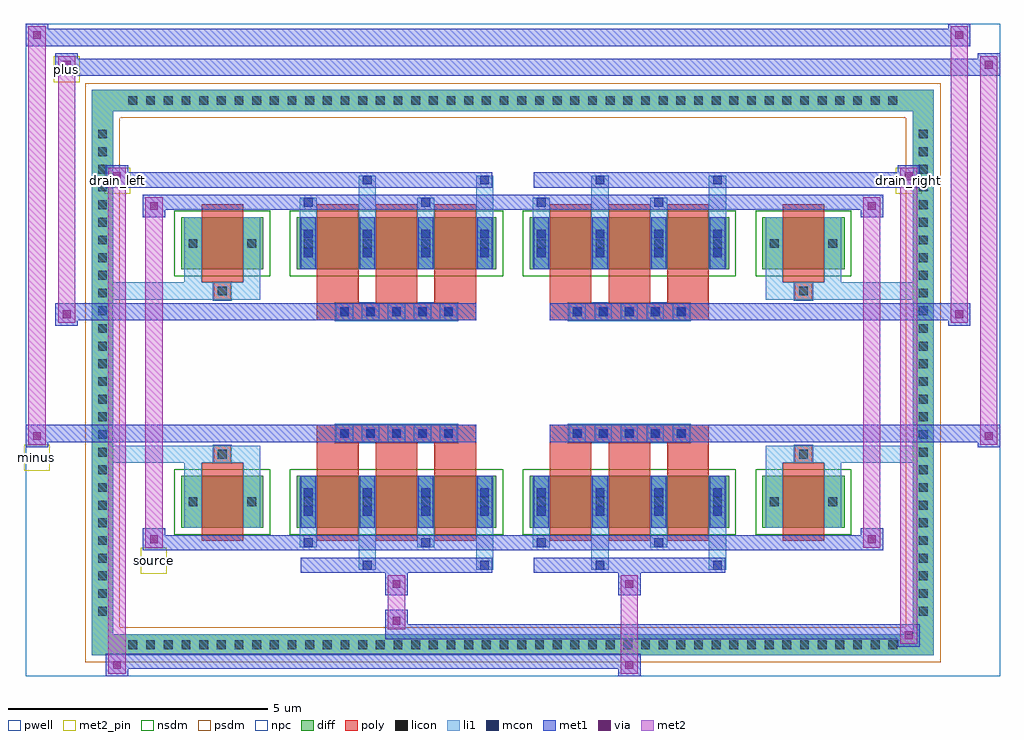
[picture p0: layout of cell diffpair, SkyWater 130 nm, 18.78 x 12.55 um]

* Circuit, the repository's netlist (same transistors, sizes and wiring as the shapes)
* NGSPICE file created from diffpair.ext - technology: sky130A

.subckt diffpair minus drain_right drain_left source plus
X0 a_n1620_n1088# a_n1620_n1088# a_n1620_n1088# a_n1620_n1088# sky130_fd_pr__nfet_01v8 ad=0.39 pd=2.78 as=3.12 ps=22.24 w=1 l=0.8
X1 a_n1620_n1088# a_n1620_n1088# a_n1620_n1088# a_n1620_n1088# sky130_fd_pr__nfet_01v8 ad=0.39 pd=2.78 as=0 ps=0 w=1 l=0.8
X2 a_n1620_n1088# a_n1620_n1088# a_n1620_n1088# a_n1620_n1088# sky130_fd_pr__nfet_01v8 ad=0.39 pd=2.78 as=0 ps=0 w=1 l=0.8
X3 a_n1620_n1088# a_n1620_n1088# a_n1620_n1088# a_n1620_n1088# sky130_fd_pr__nfet_01v8 ad=0.39 pd=2.78 as=0 ps=0 w=1 l=0.8
X4 drain_right minus source a_n1620_n1088# sky130_fd_pr__nfet_01v8 ad=0.165 pd=1.33 as=0.39 ps=2.78 w=1 l=0.8
X5 drain_right minus source a_n1620_n1088# sky130_fd_pr__nfet_01v8 ad=0.39 pd=2.78 as=0.165 ps=1.33 w=1 l=0.8
X6 drain_right minus source a_n1620_n1088# sky130_fd_pr__nfet_01v8 ad=0.39 pd=2.78 as=0.165 ps=1.33 w=1 l=0.8
X7 drain_left plus source a_n1620_n1088# sky130_fd_pr__nfet_01v8 ad=0.165 pd=1.33 as=0.39 ps=2.78 w=1 l=0.8
X8 drain_left plus source a_n1620_n1088# sky130_fd_pr__nfet_01v8 ad=0.39 pd=2.78 as=0.165 ps=1.33 w=1 l=0.8
X9 source minus drain_right a_n1620_n1088# sky130_fd_pr__nfet_01v8 ad=0.165 pd=1.33 as=0.165 ps=1.33 w=1 l=0.8
X10 drain_right minus source a_n1620_n1088# sky130_fd_pr__nfet_01v8 ad=0.165 pd=1.33 as=0.39 ps=2.78 w=1 l=0.8
X11 source minus drain_right a_n1620_n1088# sky130_fd_pr__nfet_01v8 ad=0.165 pd=1.33 as=0.165 ps=1.33 w=1 l=0.8
X12 drain_left plus source a_n1620_n1088# sky130_fd_pr__nfet_01v8 ad=0.165 pd=1.33 as=0.39 ps=2.78 w=1 l=0.8
X13 source plus drain_left a_n1620_n1088# sky130_fd_pr__nfet_01v8 ad=0.165 pd=1.33 as=0.165 ps=1.33 w=1 l=0.8
X14 source plus drain_left a_n1620_n1088# sky130_fd_pr__nfet_01v8 ad=0.165 pd=1.33 as=0.165 ps=1.33 w=1 l=0.8
X15 drain_left plus source a_n1620_n1088# sky130_fd_pr__nfet_01v8 ad=0.39 pd=2.78 as=0.165 ps=1.33 w=1 l=0.8
.ends

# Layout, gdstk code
import gdstk
lib = gdstk.Library(unit=1e-6, precision=5e-09)
def R(c, l, rs):  # rectangles x0, y0, x1, y1
    for r in rs: c.add(gdstk.rectangle(r[:2], r[2:], *l))
def A(c, l, x, y, w, h, nx, ny, dx, dy):  # array of equal rectangles
    R(c, l, [(x+i*dx, y+j*dy, x+i*dx+w, y+j*dy+h) for i in range(nx) for j in range(ny)])
def P(c, l, *ps):  # polygons
    for p in ps: c.add(gdstk.Polygon(p, *l))
pwell = (64, 44)
diff = (65, 20)
poly = (66, 20)
licon = (66, 44)
li1 = (67, 20)
mcon = (67, 44)
met1 = (68, 20)
via = (68, 44)
met2_pin = (69, 16)
met2 = (69, 20)
nsdm = (93, 44)
psdm = (94, 20)
npc = (95, 20)

diffpair = lib.new_cell('diffpair')
R(diffpair, pwell, [(-9.37,-5.84,9.37,6.71), (-6.69,-4.03,-0.01,-0.805), (0.01,-4.03,6.69,-0.805), (-6.69,0.805,-0.01,4.03), (0.01,0.805,6.69,4.03)])
A(diffpair, diff, -7.515, -5.44, 0.41, 0.41, 44, 2, 0.34, 10.47)
A(diffpair, diff, -8.1, -4.795, 0.41, 0.41, 1, 28, 0, 0.34)
A(diffpair, diff, 7.69, -4.795, 0.41, 0.41, 1, 28, 0, 0.34)
R(diffpair, diff, [(-7.515,-5.44,7.515,-5.03), (-8.1,-4.795,-7.69,4.795), (7.69,-4.795,8.1,4.795), (-6.38,-2.985,-4.8,-1.985), (-4.16,-2.985,-0.32,-1.985), (0.32,-2.985,4.16,-1.985), (4.8,-2.985,6.38,-1.985), (-6.38,1.985,-4.8,2.985), (-4.16,1.985,-0.32,2.985), (0.32,1.985,4.16,2.985), (4.8,1.985,6.38,2.985), (-7.515,5.03,7.515,5.44)])
P(diffpair, diff, [(8.1,5.44),(-8.1,5.44),(-8.1,-5.03),(-7.69,-5.03),(-7.69,5.03),(7.69,5.03),(7.69,-5.03),(-7.69,-5.03),(-8.1,-5.03),(-8.1,-5.44),(8.1,-5.44)])
A(diffpair, poly, -3.77, -3.235, 0.8, 1.5, 3, 2, 1.13, 4.97)
A(diffpair, poly, 0.71, -3.235, 0.8, 1.5, 3, 2, 1.13, 4.97)
A(diffpair, poly, -3.77, -1.735, 0.8, 0.4, 3, 2, 1.13, 3.07)
A(diffpair, poly, 0.71, -1.735, 0.8, 0.4, 3, 2, 1.13, 3.07)
A(diffpair, poly, -3.405, -1.335, 0.33, 0.33, 5, 2, 0.5, 2.34)
A(diffpair, poly, 1.075, -1.335, 0.33, 0.33, 5, 2, 0.5, 2.34)
R(diffpair, poly, [(-5.99,-3.235,-5.19,-1.735), (5.19,-3.235,5.99,-1.735), (-5.755,-1.735,-5.425,-1.405), (-5.755,-1.735,-5.425,-1.405), (5.425,-1.735,5.755,-1.405), (5.425,-1.735,5.755,-1.405), (-3.77,-1.335,-0.71,-1.005), (0.71,-1.335,3.77,-1.005), (-3.77,1.005,-0.71,1.335), (0.71,1.005,3.77,1.335), (-5.755,1.405,-5.425,1.735), (-5.755,1.405,-5.425,1.735), (5.425,1.405,5.755,1.735), (5.425,1.405,5.755,1.735), (-5.99,1.735,-5.19,3.235), (5.19,1.735,5.99,3.235)])
A(diffpair, licon, -7.395, -5.32, 0.17, 0.17, 44, 2, 0.34, 10.47)
A(diffpair, licon, -7.98, -4.675, 0.17, 0.17, 1, 28, 0, 0.34)
A(diffpair, licon, 7.81, -4.675, 0.17, 0.17, 1, 28, 0, 0.34)
A(diffpair, licon, -4.02, -2.57, 0.17, 0.17, 4, 2, 1.13, 4.97)
A(diffpair, licon, 0.46, -2.57, 0.17, 0.17, 4, 2, 1.13, 4.97)
A(diffpair, licon, -3.325, -1.255, 0.17, 0.17, 5, 2, 0.5, 2.34)
A(diffpair, licon, 1.155, -1.255, 0.17, 0.17, 5, 2, 0.5, 2.34)
R(diffpair, licon, [(-6.24,-2.57,-6.07,-2.4), (-5.11,-2.57,-4.94,-2.4), (4.94,-2.57,5.11,-2.4), (6.07,-2.57,6.24,-2.4), (-5.675,-1.655,-5.505,-1.485), (5.505,-1.655,5.675,-1.485), (-5.675,1.485,-5.505,1.655), (5.505,1.485,5.675,1.655), (-6.24,2.4,-6.07,2.57), (-5.11,2.4,-4.94,2.57), (4.94,2.4,5.11,2.57), (6.07,2.4,6.24,2.57)])
A(diffpair, li1, -7.475, -5.4, 0.33, 0.33, 44, 2, 0.34, 10.47)
A(diffpair, li1, -8.06, -4.755, 0.33, 0.33, 1, 28, 0, 0.34)
A(diffpair, li1, 7.73, -4.755, 0.33, 0.33, 1, 28, 0, 0.34)
A(diffpair, li1, -4.1, -2.985, 0.33, 1, 4, 2, 1.13, 4.97)
A(diffpair, li1, 0.38, -2.985, 0.33, 1, 4, 2, 1.13, 4.97)
A(diffpair, li1, -4.02, -2.75, 0.17, 0.17, 4, 2, 1.13, 0.36)
A(diffpair, li1, -4.02, -2.75, 0.17, 0.53, 4, 2, 1.13, 4.97)
A(diffpair, li1, 0.46, -2.75, 0.17, 0.17, 4, 2, 1.13, 0.36)
A(diffpair, li1, 0.46, -2.75, 0.17, 0.53, 4, 2, 1.13, 4.97)
A(diffpair, li1, -4.1, -2.65, 0.33, 0.33, 4, 2, 1.13, 4.97)
A(diffpair, li1, 0.38, -2.65, 0.33, 0.33, 4, 2, 1.13, 4.97)
A(diffpair, li1, -3.405, -1.335, 0.33, 0.33, 5, 2, 0.5, 2.34)
A(diffpair, li1, 1.075, -1.335, 0.33, 0.33, 5, 2, 0.5, 2.34)
A(diffpair, li1, -4.02, 2.22, 0.17, 0.17, 4, 2, 1.13, 0.36)
A(diffpair, li1, 0.46, 2.22, 0.17, 0.17, 4, 2, 1.13, 0.36)
R(diffpair, li1, [(-8.1,-5.44,-7.69,-5.03), (-8.1,-5.44,-7.69,-5.03), (-7.69,-5.44,7.69,-5.03), (7.69,-5.44,8.1,-5.03), (7.69,-5.44,8.1,-5.03), (-8.1,-5.03,-7.69,5.03), (7.69,-5.03,8.1,5.03), (-2.97,-3.79,-2.64,-2.985), (-2.89,-3.79,-2.72,-3.62), (-0.71,-3.79,-0.38,-2.985), (-0.63,-3.79,-0.46,-3.62), (1.51,-3.79,1.84,-2.985), (1.59,-3.79,1.76,-3.62), (3.77,-3.79,4.1,-2.985), (3.85,-3.79,4.02,-3.62), (-4.1,-3.36,-3.77,-2.985), (-4.02,-3.36,-3.85,-3.19), (-1.84,-3.36,-1.51,-2.985), (-1.76,-3.36,-1.59,-3.19), (0.38,-3.36,0.71,-2.985), (0.46,-3.36,0.63,-3.19), (2.64,-3.36,2.97,-2.985), (2.72,-3.36,2.89,-3.19), (-6.32,-2.985,-5.99,-1.985), (-5.19,-2.985,-4.86,-1.985), (4.86,-2.985,5.19,-1.985), (5.99,-2.985,6.32,-1.985), (-6.32,-2.65,-5.99,-2.32), (-5.19,-2.65,-4.86,-2.32), (4.86,-2.65,5.19,-2.32), (5.99,-2.65,6.32,-2.32), (-6.32,-1.985,-5.99,-1.405), (-5.19,-1.985,-4.86,-1.405), (4.86,-1.985,5.19,-1.405), (5.99,-1.985,6.32,-1.405), (-8.1,-1.735,-5.755,-1.405), (-6.32,-1.735,-5.755,-1.405), (-5.755,-1.735,-5.425,-1.405), (-5.425,-1.735,-4.86,-1.405), (4.86,-1.735,5.425,-1.405), (5.425,-1.735,5.755,-1.405), (5.425,-1.735,8.1,-1.405), (5.755,-1.735,6.32,-1.405), (-8.1,1.405,-5.755,1.735), (-6.32,1.405,-5.755,1.735), (-6.32,1.405,-5.99,1.985), (-5.755,1.405,-5.425,1.735), (-5.425,1.405,-4.86,1.735), (-5.19,1.405,-4.86,1.985), (4.86,1.405,5.425,1.735), (4.86,1.405,5.19,1.985), (5.425,1.405,5.755,1.735), (5.425,1.405,8.1,1.735), (5.755,1.405,6.32,1.735), (5.99,1.405,6.32,1.985), (-6.32,1.985,-5.99,2.985), (-5.19,1.985,-4.86,2.985), (4.86,1.985,5.19,2.985), (5.99,1.985,6.32,2.985), (-6.32,2.32,-5.99,2.65), (-5.19,2.32,-4.86,2.65), (4.86,2.32,5.19,2.65), (5.99,2.32,6.32,2.65), (-4.1,2.985,-3.77,3.36), (-2.97,2.985,-2.64,3.79), (-1.84,2.985,-1.51,3.36), (-0.71,2.985,-0.38,3.79), (0.38,2.985,0.71,3.36), (1.51,2.985,1.84,3.79), (2.64,2.985,2.97,3.36), (3.77,2.985,4.1,3.79), (-4.02,3.19,-3.85,3.36), (-1.76,3.19,-1.59,3.36), (0.46,3.19,0.63,3.36), (2.72,3.19,2.89,3.36), (-2.89,3.62,-2.72,3.79), (-0.63,3.62,-0.46,3.79), (1.59,3.62,1.76,3.79), (3.85,3.62,4.02,3.79), (-8.1,5.03,-7.69,5.44), (-8.1,5.03,-7.69,5.44), (-7.69,5.03,7.69,5.44), (7.69,5.03,8.1,5.44), (7.69,5.03,8.1,5.44)])
A(diffpair, mcon, -4.02, -2.75, 0.17, 0.17, 4, 2, 1.13, 0.36)
A(diffpair, mcon, 0.46, -2.75, 0.17, 0.17, 4, 2, 1.13, 0.36)
A(diffpair, mcon, -3.325, -1.255, 0.17, 0.17, 5, 2, 0.5, 2.34)
A(diffpair, mcon, 1.155, -1.255, 0.17, 0.17, 5, 2, 0.5, 2.34)
A(diffpair, mcon, -4.02, 2.22, 0.17, 0.17, 4, 2, 1.13, 0.36)
A(diffpair, mcon, 0.46, 2.22, 0.17, 0.17, 4, 2, 1.13, 0.36)
R(diffpair, mcon, [(-2.89,-3.79,-2.72,-3.62), (-0.63,-3.79,-0.46,-3.62), (1.59,-3.79,1.76,-3.62), (3.85,-3.79,4.02,-3.62), (-4.02,-3.36,-3.85,-3.19), (-1.76,-3.36,-1.59,-3.19), (0.46,-3.36,0.63,-3.19), (2.72,-3.36,2.89,-3.19), (-4.02,3.19,-3.85,3.36), (-1.76,3.19,-1.59,3.36), (0.46,3.19,0.63,3.36), (2.72,3.19,2.89,3.36), (-2.89,3.62,-2.72,3.79), (-0.63,3.62,-0.46,3.79), (1.59,3.62,1.76,3.79), (3.85,3.62,4.02,3.79)])
A(diffpair, met1, -4.08, -2.985, 0.29, 1, 4, 2, 1.13, 4.97)
A(diffpair, met1, 0.4, -2.985, 0.29, 1, 4, 2, 1.13, 4.97)
A(diffpair, met1, -4.08, -2.81, 0.29, 0.29, 4, 2, 1.13, 0.36)
A(diffpair, met1, 0.4, -2.81, 0.29, 0.29, 4, 2, 1.13, 0.36)
A(diffpair, met1, -3.385, -1.315, 0.29, 0.29, 5, 2, 0.5, 2.34)
A(diffpair, met1, 1.095, -1.315, 0.29, 0.29, 5, 2, 0.5, 2.34)
A(diffpair, met1, -4.08, 2.16, 0.29, 0.29, 4, 2, 1.13, 0.36)
A(diffpair, met1, 0.4, 2.16, 0.29, 0.29, 4, 2, 1.13, 0.36)
R(diffpair, met1, [(-7.83,-5.84,-7.4,-5.41), (2.025,-5.84,2.455,-5.41), (-7.83,-5.7,2.455,-5.41), (7.4,-5.27,7.83,-4.84), (-2.455,-5.13,7.83,-4.84), (-2.455,-4.99,-2.025,-4.56), (-2.455,-4.28,-2.025,-3.85), (2.025,-4.28,2.455,-3.85), (-4.08,-3.85,-0.4,-3.56), (-2.95,-3.85,-2.66,-3.56), (-0.69,-3.85,-0.4,-3.56), (0.4,-3.85,4.08,-3.56), (1.53,-3.85,1.82,-3.56), (3.79,-3.85,4.08,-3.56), (-7.12,-3.42,-6.69,-2.99), (-7.12,-3.42,-4.08,-3.13), (-4.08,-3.42,-3.79,-3.13), (-4.08,-3.42,-0.4,-3.13), (-1.82,-3.42,-1.53,-3.13), (-0.4,-3.42,0.4,-3.13), (0.4,-3.42,0.69,-3.13), (0.4,-3.42,4.08,-3.13), (2.66,-3.42,2.95,-3.13), (4.08,-3.42,7.12,-3.13), (6.69,-3.42,7.12,-2.99), (-9.37,-1.435,-8.94,-1.005), (8.94,-1.435,9.37,-1.005), (-9.37,-1.335,-0.71,-1.005), (-3.77,-1.335,-0.71,-1.005), (0.71,-1.335,3.77,-1.005), (0.71,-1.335,9.37,-1.005), (-8.8,0.905,-8.37,1.335), (8.37,0.905,8.8,1.335), (-8.8,1.005,-3.77,1.335), (-3.77,1.005,-0.71,1.335), (0.71,1.005,3.77,1.335), (3.77,1.005,8.8,1.335), (-7.12,2.99,-6.69,3.42), (6.69,2.99,7.12,3.42), (-7.12,3.13,-4.08,3.42), (-4.08,3.13,-3.79,3.42), (-4.08,3.13,-0.4,3.42), (-1.82,3.13,-1.53,3.42), (-0.4,3.13,0.4,3.42), (0.4,3.13,0.69,3.42), (0.4,3.13,4.08,3.42), (2.66,3.13,2.95,3.42), (4.08,3.13,7.12,3.42), (-7.83,3.56,-7.4,3.99), (-7.83,3.56,-4.08,3.85), (-4.08,3.56,-0.4,3.85), (-2.95,3.56,-2.66,3.85), (-0.69,3.56,-0.4,3.85), (0.4,3.56,4.08,3.85), (1.53,3.56,1.82,3.85), (3.79,3.56,4.08,3.85), (4.08,3.56,7.83,3.85), (7.4,3.56,7.83,3.99), (-8.8,5.71,-8.37,6.14), (-8.8,5.71,-6.69,6.04), (-6.69,5.71,6.69,6.04), (6.69,5.71,9.37,6.04), (8.94,5.71,9.37,6.14), (-9.37,6.28,-8.94,6.71), (-9.37,6.28,-6.69,6.61), (-6.69,6.28,6.69,6.61), (6.69,6.28,8.8,6.61), (8.37,6.28,8.8,6.71)])
R(diffpair, via, [(-7.69,-5.7,-7.54,-5.55), (2.165,-5.7,2.315,-5.55), (7.54,-5.13,7.69,-4.98), (-2.315,-4.85,-2.165,-4.7), (-2.315,-4.14,-2.165,-3.99), (2.165,-4.14,2.315,-3.99), (-6.98,-3.28,-6.83,-3.13), (6.83,-3.28,6.98,-3.13), (-9.23,-1.295,-9.08,-1.145), (9.08,-1.295,9.23,-1.145), (-8.66,1.045,-8.51,1.195), (8.51,1.045,8.66,1.195), (-6.98,3.13,-6.83,3.28), (6.83,3.13,6.98,3.28), (-7.69,3.7,-7.54,3.85), (7.54,3.7,7.69,3.85), (-8.66,5.85,-8.51,6), (9.08,5.85,9.23,6), (-9.23,6.42,-9.08,6.57), (8.51,6.42,8.66,6.57)])
R(diffpair, met2_pin, [(-7.155,-3.87,-6.655,-3.37), (-9.405,-1.885,-8.905,-1.385), (-7.865,3.44,-7.365,3.94), (7.365,3.44,7.865,3.94), (-8.835,5.59,-8.335,6.09)])
R(diffpair, met2, [(-7.78,-5.79,-7.45,-5.46), (-7.78,-5.79,-7.45,3.94), (2.075,-5.79,2.405,-5.46), (2.075,-5.46,2.405,-4.23), (7.45,-5.22,7.78,-4.89), (7.45,-5.22,7.78,3.94), (-2.405,-4.94,-2.075,-4.61), (-2.405,-4.61,-2.075,-4.23), (-2.405,-4.23,-2.075,-3.9), (2.075,-4.23,2.405,-3.9), (-7.07,-3.37,-6.74,-3.04), (-7.07,-3.37,-6.74,3.37), (6.74,-3.37,7.07,-3.04), (6.74,-3.37,7.07,3.37), (-9.32,-1.385,-8.99,-1.055), (-9.32,-1.385,-8.99,6.66), (8.99,-1.385,9.32,-1.055), (8.99,-1.385,9.32,6.09), (-8.75,0.955,-8.42,1.285), (-8.75,0.955,-8.42,6.09), (8.42,0.955,8.75,1.285), (8.42,0.955,8.75,6.66), (-7.07,3.04,-6.74,3.37), (6.74,3.04,7.07,3.37), (-7.78,3.61,-7.45,3.94), (7.45,3.61,7.78,3.94), (-8.75,5.76,-8.42,6.09), (8.99,5.76,9.32,6.09), (-9.32,6.33,-8.99,6.66), (8.42,6.33,8.75,6.66)])
P(diffpair, met2, [(9.32,-1.385),(9.32,-1.385),(9.32,-1.055),(9.32,-1.055)],
  [(9.32,5.76),(9.32,5.76),(9.32,6.09),(9.32,6.09)],
  [(-8.99,-1.385),(-8.99,-1.385),(-8.99,-1.055),(-8.99,-1.055)],
  [(-8.99,6.33),(-8.99,6.33),(-8.99,6.66),(-8.99,6.66)],
  [(8.75,0.955),(8.75,0.955),(8.75,1.285),(8.75,1.285)],
  [(8.75,6.33),(8.75,6.33),(8.75,6.66),(8.75,6.66)],
  [(-8.42,0.955),(-8.42,0.955),(-8.42,1.285),(-8.42,1.285)],
  [(-8.42,5.76),(-8.42,5.76),(-8.42,6.09),(-8.42,6.09)],
  [(-7.45,-5.79),(-7.45,-5.79),(-7.45,-5.46),(-7.45,-5.46)],
  [(-7.45,3.61),(-7.45,3.61),(-7.45,3.94),(-7.45,3.94)],
  [(7.78,-5.22),(7.78,-5.22),(7.78,-4.89),(7.78,-4.89)],
  [(7.78,3.61),(7.78,3.61),(7.78,3.94),(7.78,3.94)],
  [(-6.74,-3.37),(-6.74,-3.37),(-6.74,-3.04),(-6.74,-3.04)],
  [(-6.74,3.04),(-6.74,3.04),(-6.74,3.37),(-6.74,3.37)],
  [(7.07,-3.37),(7.07,-3.37),(7.07,-3.04),(7.07,-3.04)],
  [(7.07,3.04),(7.07,3.04),(7.07,3.37),(7.07,3.37)])
R(diffpair, nsdm, [(-6.51,-3.115,-4.67,-1.855), (-4.29,-3.115,-0.19,-1.855), (0.19,-3.115,4.29,-1.855), (4.67,-3.115,6.51,-1.855), (-6.51,1.855,-4.67,3.115), (-4.29,1.855,-0.19,3.115), (0.19,1.855,4.29,3.115), (4.67,1.855,6.51,3.115)])
P(diffpair, psdm, [(8.23,5.57),(-8.23,5.57),(-8.23,-4.9),(-7.56,-4.9),(-7.56,4.9),(7.56,4.9),(7.56,-4.9),(-7.56,-4.9),(-8.23,-4.9),(-8.23,-5.57),(8.23,-5.57)])
A(diffpair, npc, -3.425, -1.355, 0.37, 0.37, 5, 2, 0.5, 2.34)
A(diffpair, npc, 1.055, -1.355, 0.37, 0.37, 5, 2, 0.5, 2.34)
R(diffpair, npc, [(-5.775,-1.755,-5.405,-1.385), (5.405,-1.755,5.775,-1.385), (-3.425,-1.355,-2.555,-0.985), (-3.425,-1.355,-2.555,-0.985), (-2.925,-1.355,-2.055,-0.985), (-2.925,-1.355,-2.055,-0.985), (-2.425,-1.355,-1.555,-0.985), (-2.425,-1.355,-1.555,-0.985), (-1.925,-1.355,-1.055,-0.985), (-1.925,-1.355,-1.055,-0.985), (1.055,-1.355,1.925,-0.985), (1.055,-1.355,1.925,-0.985), (1.555,-1.355,2.425,-0.985), (1.555,-1.355,2.425,-0.985), (2.055,-1.355,2.925,-0.985), (2.055,-1.355,2.925,-0.985), (2.555,-1.355,3.425,-0.985), (2.555,-1.355,3.425,-0.985), (-3.425,0.985,-2.555,1.355), (-3.425,0.985,-2.555,1.355), (-2.925,0.985,-2.055,1.355), (-2.925,0.985,-2.055,1.355), (-2.425,0.985,-1.555,1.355), (-2.425,0.985,-1.555,1.355), (-1.925,0.985,-1.055,1.355), (-1.925,0.985,-1.055,1.355), (1.055,0.985,1.925,1.355), (1.055,0.985,1.925,1.355), (1.555,0.985,2.425,1.355), (1.555,0.985,2.425,1.355), (2.055,0.985,2.925,1.355), (2.055,0.985,2.925,1.355), (2.555,0.985,3.425,1.355), (2.555,0.985,3.425,1.355), (-5.775,1.385,-5.405,1.755), (5.405,1.385,5.775,1.755)])
diffpair.add(gdstk.Label('minus', (-9.155,-1.635), layer=69, texttype=5))
diffpair.add(gdstk.Label('drain_right', (7.615,3.69), layer=69, texttype=5))
diffpair.add(gdstk.Label('drain_left', (-7.615,3.69), layer=69, texttype=5))
diffpair.add(gdstk.Label('source', (-6.905,-3.62), layer=69, texttype=5))
diffpair.add(gdstk.Label('plus', (-8.585,5.84), layer=69, texttype=5))

lib.write_gds('diffpair.gds')
